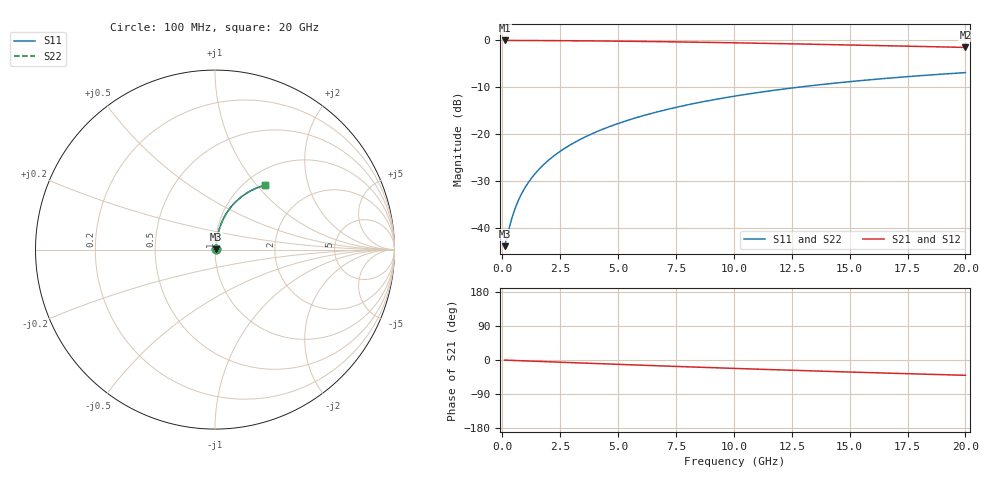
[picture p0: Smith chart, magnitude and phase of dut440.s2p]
! Touchstone file exported from HFSS 2024.1.0
!  File:  C:/UserFiles/LocalFiles/RDL_TSV_Batchsim/temp_RDL_top_440_1779676755.aedt
!  Generated:  10:41:29 AM May 25, 2026
!  Design:  RDL_top
!  Project:  temp_RDL_top_440_1779676755
!  Setup:  Setup1
!  Solution:  Sweep
! Variables:
!  dtsv = 10.80580581um
!  hbump = 3um
!  htsv = 64.75um
!  ldown = 100um
!  lrdl = 523.46um
!  p = 40
!  p1 = 43.38um
!  rhole = 1um
!  t = 450um
!  tdown = 3.915915916um
!  trdl = 2.65um
!  wdown = 15.38538539um
!  wrdl = 12.25um
# GHz S MA R 50.000000
! Terminal data exported
! Port[1] = Box2_T1
! Port[2] = Box2_T2
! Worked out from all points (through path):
!   200 points, 100 MHz to 20 GHz, reference 50 ohm
!   highest |S21| = -0.05 dB at 100 MHz (marker M1); lowest = -1.5 dB at 20 GHz (marker M2)
!   group delay of S21, straight-line fit = 5.61 ps
!   lowest |S11| = -43.9 dB at 100 MHz (marker M3), VSWR 1.01, Z = 50.6 + j0.275 ohm
!   |S11| at or under -10 dB: start of sweep to 12.8 GHz
!   |S22| runs from -43.9 to -6.9 dB; largest |S21 - S12| = 2.3e-15
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0.1  0.006404 25.2  0.9942 -0.2  0.9942 -0.2  0.006404 25.2
! Gamma 0 0 0 0
! Port Impedance 50 0 50 0
0.3  0.01009 53.6  0.994 -0.7  0.994 -0.7  0.01009 53.6
0.4  0.01241 60.4  0.9939 -1.0  0.9939 -1.0  0.01241 60.4
0.5  0.01484 64.8  0.9937 -1.2  0.9937 -1.2  0.01484 64.8
0.6  0.01731 67.9  0.9936 -1.4  0.9936 -1.4  0.01731 67.9
0.7  0.01981 70.2  0.9934 -1.7  0.9934 -1.7  0.01981 70.2
0.9  0.02483 73.3  0.993 -2.1  0.993 -2.1  0.02483 73.3
1.2  0.03241 76.0  0.9924 -2.8  0.9924 -2.8  0.03241 76.0
1.4  0.03748 77.1  0.992 -3.3  0.992 -3.3  0.03748 77.1
1.7  0.04511 78.2  0.9913 -4.0  0.9913 -4.0  0.04511 78.2
2.2  0.05788 79.1  0.99 -5.2  0.99 -5.2  0.05788 79.1
2.8  0.07325 79.4  0.988 -6.5  0.988 -6.5  0.07325 79.4
3.5  0.09122 79.2  0.9852 -8.1  0.9852 -8.1  0.09122 79.2
4.2  0.1092 78.6  0.9819 -9.7  0.9819 -9.7  0.1092 78.6
5  0.1296 77.6  0.9775 -11.5  0.9775 -11.5  0.1296 77.6
5.9  0.1525 76.4  0.9718 -13.5  0.9718 -13.5  0.1525 76.4
6.8  0.1752 75.0  0.9655 -15.5  0.9655 -15.5  0.1752 75.0
8.3  0.2123 72.4  0.9538 -18.7  0.9538 -18.7  0.2123 72.4
10.1  0.2554 69.3  0.9381 -22.4  0.9381 -22.4  0.2554 69.3
13.4  0.3291 63.4  0.9063 -28.8  0.9063 -28.8  0.3291 63.4
16.7  0.3947 57.7  0.8724 -34.8  0.8724 -34.8  0.3947 57.7
20  0.452 52.3  0.8382 -40.3  0.8382 -40.3  0.452 52.3
